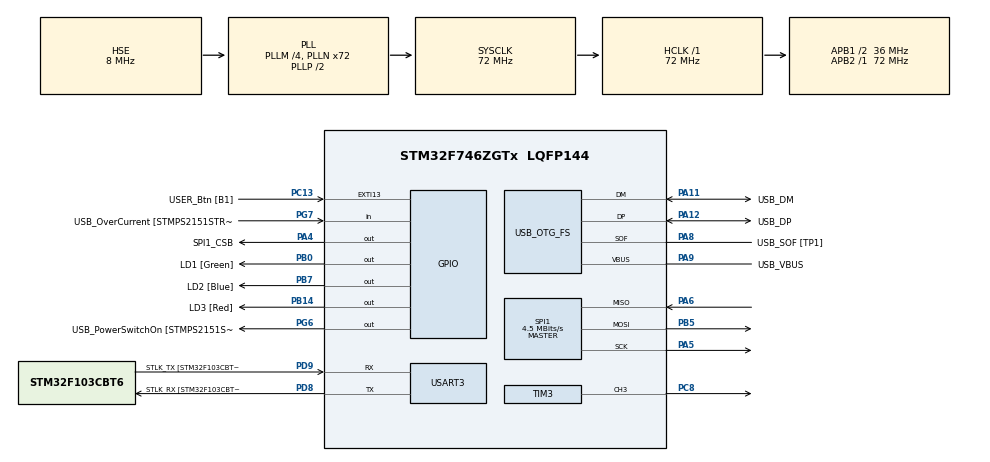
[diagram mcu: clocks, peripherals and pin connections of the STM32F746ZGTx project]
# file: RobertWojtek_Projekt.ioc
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Mcu.Family=STM32F7
Mcu.Name=STM32F746ZGTx
Mcu.Package=LQFP144
NVIC.PriorityGroup=NVIC_PRIORITYGROUP_4
NVIC.TIM4_IRQn=true\:0\:0\:false\:false\:true\:true\:true
PA1.GPIO_Label=RMII_REF_CLK [LAN8742A-CZ-TR_REFCLK0]
PA1.Signal=ETH_REF_CLK
PA10.GPIO_Label=USB_ID
PA10.Signal=USB_OTG_FS_ID
PA11.GPIO_Label=USB_DM
PA11.Mode=Device_Only
PA11.Signal=USB_OTG_FS_DM
PA12.GPIO_Label=USB_DP
PA12.Mode=Device_Only
PA12.Signal=USB_OTG_FS_DP
PA13.GPIO_Label=TMS
PA13.Mode=Serial_Wire
PA13.Signal=SYS_JTMS-SWDIO
PA14.GPIO_Label=TCK
PA14.Mode=Serial_Wire
PA14.Signal=SYS_JTCK-SWCLK
PA2.GPIO_Label=RMII_MDIO [LAN8742A-CZ-TR_MDIO]
PA2.Signal=ETH_MDIO
PA4.GPIO_Label=SPI1_CSB
PA4.Signal=GPIO_Output
PA5.Mode=Full_Duplex_Master
PA5.Signal=SPI1_SCK
PA6.Mode=Full_Duplex_Master
PA6.Signal=SPI1_MISO
PA7.GPIO_Label=RMII_CRS_DV [LAN8742A-CZ-TR_CRS_DV]
PA7.Signal=ETH_CRS_DV
PA8.GPIO_Label=USB_SOF [TP1]
PA8.Mode=Activate_SOF_FS
PA8.Signal=USB_OTG_FS_SOF
PA9.GPIO_Label=USB_VBUS
PA9.Mode=Activate_VBUS
PA9.Signal=USB_OTG_FS_VBUS
PB0.GPIO_Label=LD1 [Green]
PB0.Signal=GPIO_Output
PB13.GPIO_Label=RMII_TXD1 [LAN8742A-CZ-TR_TXD1]
PB13.Signal=ETH_TXD1
PB14.GPIO_Label=LD3 [Red]
PB14.Signal=GPIO_Output
PB3.GPIO_Label=SW0
PB3.Signal=SYS_JTDO-SWO
PB5.Mode=Full_Duplex_Master
PB5.Signal=SPI1_MOSI
PB7.GPIO_Label=LD2 [Blue]
PB7.Signal=GPIO_Output
PC1.GPIO_Label=RMII_MDC [LAN8742A-CZ-TR_MDC]
PC1.Signal=ETH_MDC
PC13.GPIO_Label=USER_Btn [B1]
PC13.Signal=GPXTI13
PC14/OSC32_IN.Mode=LSE-External-Oscillator
PC14/OSC32_IN.Signal=RCC_OSC32_IN
PC15/OSC32_OUT.Mode=LSE-External-Oscillator
PC15/OSC32_OUT.Signal=RCC_OSC32_OUT
PC4.GPIO_Label=RMII_RXD0 [LAN8742A-CZ-TR_RXD0]
PC4.Signal=ETH_RXD0
PC5.GPIO_Label=RMII_RXD1 [LAN8742A-CZ-TR_RXD1]
PC5.Signal=ETH_RXD1
PC8.Signal=S_TIM3_CH3
PD8.GPIO_Label=STLK_RX [STM32F103CBT6_PA3]
PD8.Mode=Asynchronous
PD8.Signal=USART3_TX
PD9.GPIO_Label=STLK_TX [STM32F103CBT6_PA2]
PD9.Mode=Asynchronous
PD9.Signal=USART3_RX
PG11.GPIO_Label=RMII_TX_EN [LAN8742A-CZ-TR_TXEN]
PG11.Signal=ETH_TX_EN
PG13.GPIO_Label=RMII_TXD0 [LAN8742A-CZ-TR_TXD0]
PG13.Signal=ETH_TXD0
PG6.GPIO_Label=USB_PowerSwitchOn [STMPS2151STR_EN]
PG6.Signal=GPIO_Output
PG7.GPIO_Label=USB_OverCurrent [STMPS2151STR_FAULT]
PG7.Signal=GPIO_Input
PH0/OSC_IN.GPIO_Label=MCO [STM32F103CBT6_PA8]
PH0/OSC_IN.Mode=HSE-External-Clock-Source
PH0/OSC_IN.Signal=RCC_OSC_IN
PH1/OSC_OUT.Mode=HSE-External-Clock-Source
PH1/OSC_OUT.Signal=RCC_OSC_OUT
ProjectManager.HeapSize=0x200
ProjectManager.StackSize=0x400
ProjectManager.TargetToolchain=STM32CubeIDE
RCC.48MHZClocksFreq_Value=24000000
RCC.AHBFreq_Value=72000000
RCC.APB1CLKDivider=RCC_HCLK_DIV2
RCC.APB1Freq_Value=36000000
RCC.APB1TimFreq_Value=72000000
RCC.APB2Freq_Value=72000000
RCC.APB2TimFreq_Value=72000000
RCC.CortexFreq_Value=72000000
RCC.HCLKFreq_Value=72000000
RCC.HSE_VALUE=8000000
RCC.HSI_VALUE=16000000
RCC.PLLM=4
RCC.PLLMUL=RCC_PLL_MUL9
RCC.PLLN=72
RCC.PLLQ=3
RCC.PRESCALERUSB=RCC_USBCLKSOURCE_PLL_DIV1_5
RCC.SYSCLKFreq_VALUE=72000000
RCC.SYSCLKSource=RCC_SYSCLKSOURCE_PLLCLK
RCC.SYSCLKSourceVirtual=RCC_SYSCLKSOURCE_PLLCLK
RCC.USBFreq_Value=48000000
RCC.VCOOutputFreq_Value=144000000
SH.S_TIM3_CH3.0=TIM3_CH3,PWM Generation3 CH3
SPI1.BaudRatePrescaler=SPI_BAUDRATEPRESCALER_16
SPI1.CalculateBaudRate=4.5 MBits/s
SPI1.DataSize=SPI_DATASIZE_8BIT
SPI1.Direction=SPI_DIRECTION_2LINES
SPI1.Mode=SPI_MODE_MASTER
SPI1.VirtualType=VM_MASTER
TIM3.Channel-PWM\ Generation3\ CH3=TIM_CHANNEL_3
TIM3.Period=19999
TIM3.Prescaler=71
TIM4.Period=4999
TIM4.Prescaler=71
USART3.VirtualMode-Asynchronous=VM_ASYNC
USB_OTG_FS.VirtualMode=Device_Only
VP_TIM3_VS_ClockSourceINT.Mode=Internal
VP_TIM4_VS_ClockSourceINT.Mode=Internal
board=NUCLEO-F746ZG

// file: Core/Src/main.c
/* USER CODE BEGIN Header */
/**
  ******************************************************************************
  * @file           : main.c
  * @brief          : Main program body
  ******************************************************************************
  * @attention
  *
  * Copyright (c) 2023 STMicroelectronics.
  * All rights reserved.
  *
  * This software is licensed under terms that can be found in the LICENSE file
  * in the root directory of this software component.
  * If no LICENSE file comes with this software, it is provided AS-IS.
  *
  ******************************************************************************
  */
/* USER CODE END Header */
#include "main.h"

/* USER CODE BEGIN Includes */
#include "BMPXX80.h"
#include <stdio.h>
#include <string.h>
/* USER CODE END Includes */

SPI_HandleTypeDef hspi1;

TIM_HandleTypeDef htim3;
TIM_HandleTypeDef htim4;

UART_HandleTypeDef huart3;

PCD_HandleTypeDef hpcd_USB_OTG_FS;

/* USER CODE BEGIN PV */
int set_value = 33;
float temperature;
int32_t pressure;

float e_sum_pid;
float last_e_pid = 0;
char enabled = 0;

float u_DEBUG;
float e_diff_DEBUG;
char text[100] = "";

/* USER CODE END PV */

void SystemClock_Config(void);
static void MX_GPIO_Init(void);
static void MX_USART3_UART_Init(void);
static void MX_USB_OTG_FS_PCD_Init(void);
static void MX_SPI1_Init(void);
static void MX_TIM4_Init(void);
static void MX_TIM3_Init(void);

/* USER CODE BEGIN 0 */
#define COUNTOF(_BUFF_) (sizeof(_BUFF_) / sizeof(*(_BUFF_)))
#define RESPOND(str) transmit(str, COUNTOF(str))

void transmit(char* stream, size_t length)
{
	HAL_UART_Transmit(&huart3, (uint8_t*)stream, length-1, 500);
	HAL_GPIO_WritePin(LD3_GPIO_Port, LD3_Pin, GPIO_PIN_SET);
	HAL_Delay(50);
	HAL_GPIO_WritePin(LD3_GPIO_Port, LD3_Pin, GPIO_PIN_RESET);
}

float pid(float y, float set, float* e_sum, float* last_e)
{
	float kp = 4;
	float ki = 0.006;
	float kd = 5;
	float Tp = 0.005;

	float e = set - y;
	(*e_sum) = (*e_sum) + e * Tp;
	float e_diff = e - (*last_e);
	(*last_e) = e;

	float p = kp * e;
	float i = ki * (*e_sum);
	float d = kd * e_diff;

	e_diff_DEBUG = e_diff;

	return p + i + d;
}

/* USER CODE END 0 */

int main(void)
{

  /* MCU Configuration--------------------------------------------------------*/

  /* Reset of all peripherals, Initializes the Flash interface and the Systick. */
  HAL_Init();

  /* Configure the system clock */
  SystemClock_Config();

  /* Initialize all configured peripherals */
  MX_GPIO_Init();
  MX_USART3_UART_Init();
  MX_USB_OTG_FS_PCD_Init();
  MX_SPI1_Init();
  MX_TIM4_Init();
  MX_TIM3_Init();
  /* USER CODE BEGIN 2 */

  HAL_GPIO_TogglePin(LD1_GPIO_Port, LD1_Pin);

  BMP280_Init(&hspi1, BMP280_TEMPERATURE_16BIT, BMP280_STANDARD, BMP280_FORCEDMODE);
  HAL_TIM_Base_Start_IT(&htim4);
  HAL_TIM_PWM_Start(&htim3, TIM_CHANNEL_3);

  /* USER CODE END 2 */

  /* Infinite loop */
  /* USER CODE BEGIN WHILE */
  while (1)
  {
	  HAL_GPIO_TogglePin(LD1_GPIO_Port, LD1_Pin);

	  GPIO_PinState buttonState = HAL_GPIO_ReadPin(USER_Btn_GPIO_Port, USER_Btn_Pin);
	  if (buttonState == GPIO_PIN_SET)
	  {
		  enabled = !enabled;
		  HAL_Delay(100);
	  }

	  // COMMANDS
	  uint8_t key[4];
	  HAL_StatusTypeDef status = HAL_UART_Receive(&huart3, key, 4, 100);

	  if (status == HAL_OK)
	  {
		  RESPOND("Received ");
		  transmit((char*)key, 5);
		  RESPOND("\n\r");

		  if (key[0] == 'S')
		  {
			  RESPOND("Trying to set the temperature\n\r");
			  set_value = (key[1] - '0') * 100 + (key[2] - '0') * 10 + key[3] - '0';
		  }
	  }

	  // DATA READ
	  BMP280_ReadTemperatureAndPressure(&temperature, &pressure);

	  // SENDING DATA OUT
	  snprintf(text, sizeof(text), "%.3f,%d,%.3f,%.3f,%.3f\n\r", (double)temperature, set_value, (double)u_DEBUG, (float)e_sum_pid, (float)e_diff_DEBUG);
	  transmit(text, strlen(text) + 1);

    /* USER CODE END WHILE */

  }
}

void SystemClock_Config(void)
{
  RCC_OscInitTypeDef RCC_OscInitStruct = {0};
  RCC_ClkInitTypeDef RCC_ClkInitStruct = {0};

  /** Configure LSE Drive Capability
  */
  HAL_PWR_EnableBkUpAccess();
  /** Configure the main internal regulator output voltage
  */
  __HAL_RCC_PWR_CLK_ENABLE();
  __HAL_PWR_VOLTAGESCALING_CONFIG(PWR_REGULATOR_VOLTAGE_SCALE3);
  /** Initializes the RCC Oscillators according to the specified parameters
  * in the RCC_OscInitTypeDef structure.
  */
  RCC_OscInitStruct.OscillatorType = RCC_OSCILLATORTYPE_HSE;
  RCC_OscInitStruct.HSEState = RCC_HSE_BYPASS;
  RCC_OscInitStruct.PLL.PLLState = RCC_PLL_ON;
  RCC_OscInitStruct.PLL.PLLSource = RCC_PLLSOURCE_HSE;
  RCC_OscInitStruct.PLL.PLLM = 4;
  RCC_OscInitStruct.PLL.PLLN = 72;
  RCC_OscInitStruct.PLL.PLLP = RCC_PLLP_DIV2;
  RCC_OscInitStruct.PLL.PLLQ = 3;
  if (HAL_RCC_OscConfig(&RCC_OscInitStruct) != HAL_OK)
  {
    Error_Handler();
  }
  /** Initializes the CPU, AHB and APB buses clocks
  */
  RCC_ClkInitStruct.ClockType = RCC_CLOCKTYPE_HCLK|RCC_CLOCKTYPE_SYSCLK
                              |RCC_CLOCKTYPE_PCLK1|RCC_CLOCKTYPE_PCLK2;
  RCC_ClkInitStruct.SYSCLKSource = RCC_SYSCLKSOURCE_PLLCLK;
  RCC_ClkInitStruct.AHBCLKDivider = RCC_SYSCLK_DIV1;
  RCC_ClkInitStruct.APB1CLKDivider = RCC_HCLK_DIV2;
  RCC_ClkInitStruct.APB2CLKDivider = RCC_HCLK_DIV1;

  if (HAL_RCC_ClockConfig(&RCC_ClkInitStruct, FLASH_LATENCY_2) != HAL_OK)
  {
    Error_Handler();
  }
}

static void MX_SPI1_Init(void)
{

  /* SPI1 parameter configuration*/
  hspi1.Instance = SPI1;
  hspi1.Init.Mode = SPI_MODE_MASTER;
  hspi1.Init.Direction = SPI_DIRECTION_2LINES;
  hspi1.Init.DataSize = SPI_DATASIZE_8BIT;
  hspi1.Init.CLKPolarity = SPI_POLARITY_LOW;
  hspi1.Init.CLKPhase = SPI_PHASE_1EDGE;
  hspi1.Init.NSS = SPI_NSS_SOFT;
  hspi1.Init.BaudRatePrescaler = SPI_BAUDRATEPRESCALER_16;
  hspi1.Init.FirstBit = SPI_FIRSTBIT_MSB;
  hspi1.Init.TIMode = SPI_TIMODE_DISABLE;
  hspi1.Init.CRCCalculation = SPI_CRCCALCULATION_DISABLE;
  hspi1.Init.CRCPolynomial = 7;
  hspi1.Init.CRCLength = SPI_CRC_LENGTH_DATASIZE;
  hspi1.Init.NSSPMode = SPI_NSS_PULSE_ENABLE;
  if (HAL_SPI_Init(&hspi1) != HAL_OK)
  {
    Error_Handler();
  }

}

static void MX_TIM3_Init(void)
{

  TIM_ClockConfigTypeDef sClockSourceConfig = {0};
  TIM_MasterConfigTypeDef sMasterConfig = {0};
  TIM_OC_InitTypeDef sConfigOC = {0};

  htim3.Instance = TIM3;
  htim3.Init.Prescaler = 71;
  htim3.Init.CounterMode = TIM_COUNTERMODE_UP;
  htim3.Init.Period = 19999;
  htim3.Init.ClockDivision = TIM_CLOCKDIVISION_DIV1;
  htim3.Init.AutoReloadPreload = TIM_AUTORELOAD_PRELOAD_DISABLE;
  if (HAL_TIM_Base_Init(&htim3) != HAL_OK)
  {
    Error_Handler();
  }
  sClockSourceConfig.ClockSource = TIM_CLOCKSOURCE_INTERNAL;
  if (HAL_TIM_ConfigClockSource(&htim3, &sClockSourceConfig) != HAL_OK)
  {
    Error_Handler();
  }
  if (HAL_TIM_PWM_Init(&htim3) != HAL_OK)
  {
    Error_Handler();
  }
  sMasterConfig.MasterOutputTrigger = TIM_TRGO_RESET;
  sMasterConfig.MasterSlaveMode = TIM_MASTERSLAVEMODE_DISABLE;
  if (HAL_TIMEx_MasterConfigSynchronization(&htim3, &sMasterConfig) != HAL_OK)
  {
    Error_Handler();
  }
  sConfigOC.OCMode = TIM_OCMODE_PWM1;
  sConfigOC.Pulse = 0;
  sConfigOC.OCPolarity = TIM_OCPOLARITY_HIGH;
  sConfigOC.OCFastMode = TIM_OCFAST_DISABLE;
  if (HAL_TIM_PWM_ConfigChannel(&htim3, &sConfigOC, TIM_CHANNEL_3) != HAL_OK)
  {
    Error_Handler();
  }
  HAL_TIM_MspPostInit(&htim3);

}

static void MX_TIM4_Init(void)
{

  TIM_ClockConfigTypeDef sClockSourceConfig = {0};
  TIM_MasterConfigTypeDef sMasterConfig = {0};

  htim4.Instance = TIM4;
  htim4.Init.Prescaler = 71;
  htim4.Init.CounterMode = TIM_COUNTERMODE_UP;
  htim4.Init.Period = 4999;
  htim4.Init.ClockDivision = TIM_CLOCKDIVISION_DIV1;
  htim4.Init.AutoReloadPreload = TIM_AUTORELOAD_PRELOAD_DISABLE;
  if (HAL_TIM_Base_Init(&htim4) != HAL_OK)
  {
    Error_Handler();
  }
  sClockSourceConfig.ClockSource = TIM_CLOCKSOURCE_INTERNAL;
  if (HAL_TIM_ConfigClockSource(&htim4, &sClockSourceConfig) != HAL_OK)
  {
    Error_Handler();
  }
  sMasterConfig.MasterOutputTrigger = TIM_TRGO_RESET;
  sMasterConfig.MasterSlaveMode = TIM_MASTERSLAVEMODE_DISABLE;
  if (HAL_TIMEx_MasterConfigSynchronization(&htim4, &sMasterConfig) != HAL_OK)
  {
    Error_Handler();
  }

}

static void MX_USART3_UART_Init(void)
{

  huart3.Instance = USART3;
  huart3.Init.BaudRate = 115200;
  huart3.Init.WordLength = UART_WORDLENGTH_8B;
  huart3.Init.StopBits = UART_STOPBITS_1;
  huart3.Init.Parity = UART_PARITY_NONE;
  huart3.Init.Mode = UART_MODE_TX_RX;
  huart3.Init.HwFlowCtl = UART_HWCONTROL_NONE;
  huart3.Init.OverSampling = UART_OVERSAMPLING_16;
  huart3.Init.OneBitSampling = UART_ONE_BIT_SAMPLE_DISABLE;
  huart3.AdvancedInit.AdvFeatureInit = UART_ADVFEATURE_NO_INIT;
  if (HAL_UART_Init(&huart3) != HAL_OK)
  {
    Error_Handler();
  }

}

static void MX_USB_OTG_FS_PCD_Init(void)
{

  hpcd_USB_OTG_FS.Instance = USB_OTG_FS;
  hpcd_USB_OTG_FS.Init.dev_endpoints = 6;
  hpcd_USB_OTG_FS.Init.speed = PCD_SPEED_FULL;
  hpcd_USB_OTG_FS.Init.dma_enable = DISABLE;
  hpcd_USB_OTG_FS.Init.phy_itface = PCD_PHY_EMBEDDED;
  hpcd_USB_OTG_FS.Init.Sof_enable = ENABLE;
  hpcd_USB_OTG_FS.Init.low_power_enable = DISABLE;
  hpcd_USB_OTG_FS.Init.lpm_enable = DISABLE;
  hpcd_USB_OTG_FS.Init.vbus_sensing_enable = ENABLE;
  hpcd_USB_OTG_FS.Init.use_dedicated_ep1 = DISABLE;
  if (HAL_PCD_Init(&hpcd_USB_OTG_FS) != HAL_OK)
  {
    Error_Handler();
  }

}

static void MX_GPIO_Init(void)
{
  GPIO_InitTypeDef GPIO_InitStruct = {0};

  /* GPIO Ports Clock Enable */
  __HAL_RCC_GPIOC_CLK_ENABLE();
  __HAL_RCC_GPIOH_CLK_ENABLE();
  __HAL_RCC_GPIOA_CLK_ENABLE();
  __HAL_RCC_GPIOB_CLK_ENABLE();
  __HAL_RCC_GPIOD_CLK_ENABLE();
  __HAL_RCC_GPIOG_CLK_ENABLE();

  /*Configure GPIO pin Output Level */
  HAL_GPIO_WritePin(SPI1_CSB_GPIO_Port, SPI1_CSB_Pin, GPIO_PIN_RESET);

  /*Configure GPIO pin Output Level */
  HAL_GPIO_WritePin(GPIOB, LD1_Pin|LD3_Pin|LD2_Pin, GPIO_PIN_RESET);

  /*Configure GPIO pin Output Level */
  HAL_GPIO_WritePin(USB_PowerSwitchOn_GPIO_Port, USB_PowerSwitchOn_Pin, GPIO_PIN_RESET);

  /*Configure GPIO pin : USER_Btn_Pin */
  GPIO_InitStruct.Pin = USER_Btn_Pin;
  GPIO_InitStruct.Mode = GPIO_MODE_IT_RISING;
  GPIO_InitStruct.Pull = GPIO_NOPULL;
  HAL_GPIO_Init(USER_Btn_GPIO_Port, &GPIO_InitStruct);

  /*Configure GPIO pins : RMII_MDC_Pin RMII_RXD0_Pin RMII_RXD1_Pin */
  GPIO_InitStruct.Pin = RMII_MDC_Pin|RMII_RXD0_Pin|RMII_RXD1_Pin;
  GPIO_InitStruct.Mode = GPIO_MODE_AF_PP;
  GPIO_InitStruct.Pull = GPIO_NOPULL;
  GPIO_InitStruct.Speed = GPIO_SPEED_FREQ_VERY_HIGH;
  GPIO_InitStruct.Alternate = GPIO_AF11_ETH;
  HAL_GPIO_Init(GPIOC, &GPIO_InitStruct);

  /*Configure GPIO pins : RMII_REF_CLK_Pin RMII_MDIO_Pin RMII_CRS_DV_Pin */
  GPIO_InitStruct.Pin = RMII_REF_CLK_Pin|RMII_MDIO_Pin|RMII_CRS_DV_Pin;
  GPIO_InitStruct.Mode = GPIO_MODE_AF_PP;
  GPIO_InitStruct.Pull = GPIO_NOPULL;
  GPIO_InitStruct.Speed = GPIO_SPEED_FREQ_VERY_HIGH;
  GPIO_InitStruct.Alternate = GPIO_AF11_ETH;
  HAL_GPIO_Init(GPIOA, &GPIO_InitStruct);

  /*Configure GPIO pin : SPI1_CSB_Pin */
  GPIO_InitStruct.Pin = SPI1_CSB_Pin;
  GPIO_InitStruct.Mode = GPIO_MODE_OUTPUT_PP;
  GPIO_InitStruct.Pull = GPIO_NOPULL;
  GPIO_InitStruct.Speed = GPIO_SPEED_FREQ_LOW;
  HAL_GPIO_Init(SPI1_CSB_GPIO_Port, &GPIO_InitStruct);

  /*Configure GPIO pins : LD1_Pin LD3_Pin LD2_Pin */
  GPIO_InitStruct.Pin = LD1_Pin|LD3_Pin|LD2_Pin;
  GPIO_InitStruct.Mode = GPIO_MODE_OUTPUT_PP;
  GPIO_InitStruct.Pull = GPIO_NOPULL;
  GPIO_InitStruct.Speed = GPIO_SPEED_FREQ_LOW;
  HAL_GPIO_Init(GPIOB, &GPIO_InitStruct);

  /*Configure GPIO pin : RMII_TXD1_Pin */
  GPIO_InitStruct.Pin = RMII_TXD1_Pin;
  GPIO_InitStruct.Mode = GPIO_MODE_AF_PP;
  GPIO_InitStruct.Pull = GPIO_NOPULL;
  GPIO_InitStruct.Speed = GPIO_SPEED_FREQ_VERY_HIGH;
  GPIO_InitStruct.Alternate = GPIO_AF11_ETH;
  HAL_GPIO_Init(RMII_TXD1_GPIO_Port, &GPIO_InitStruct);

  /*Configure GPIO pin : USB_PowerSwitchOn_Pin */
  GPIO_InitStruct.Pin = USB_PowerSwitchOn_Pin;
  GPIO_InitStruct.Mode = GPIO_MODE_OUTPUT_PP;
  GPIO_InitStruct.Pull = GPIO_NOPULL;
  GPIO_InitStruct.Speed = GPIO_SPEED_FREQ_LOW;
  HAL_GPIO_Init(USB_PowerSwitchOn_GPIO_Port, &GPIO_InitStruct);

  /*Configure GPIO pin : USB_OverCurrent_Pin */
  GPIO_InitStruct.Pin = USB_OverCurrent_Pin;
  GPIO_InitStruct.Mode = GPIO_MODE_INPUT;
  GPIO_InitStruct.Pull = GPIO_NOPULL;
  HAL_GPIO_Init(USB_OverCurrent_GPIO_Port, &GPIO_InitStruct);

  /*Configure GPIO pins : RMII_TX_EN_Pin RMII_TXD0_Pin */
  GPIO_InitStruct.Pin = RMII_TX_EN_Pin|RMII_TXD0_Pin;
  GPIO_InitStruct.Mode = GPIO_MODE_AF_PP;
  GPIO_InitStruct.Pull = GPIO_NOPULL;
  GPIO_InitStruct.Speed = GPIO_SPEED_FREQ_VERY_HIGH;
  GPIO_InitStruct.Alternate = GPIO_AF11_ETH;
  HAL_GPIO_Init(GPIOG, &GPIO_InitStruct);

}

/* USER CODE BEGIN 4 */

void HAL_TIM_PeriodElapsedCallback(TIM_HandleTypeDef* htim)
{
	HAL_GPIO_WritePin(LD2_GPIO_Port, LD2_Pin, enabled);

	// PID
	float u = pid(temperature, (float)set_value, &e_sum_pid, &last_e_pid);
	if (u > 5) u = 5;
	if (u < 0) u = 0;

	u /= 5;

	if (!enabled)
	{
		u = 0;
		e_sum_pid = 0;
	}

	// SET U
	u_DEBUG = u;
	__HAL_TIM_SET_COMPARE(&htim3, TIM_CHANNEL_3, u * 19999);
}

/* USER CODE END 4 */

void Error_Handler(void)
{
  __disable_irq();
  while (1)
  {
  }
}
